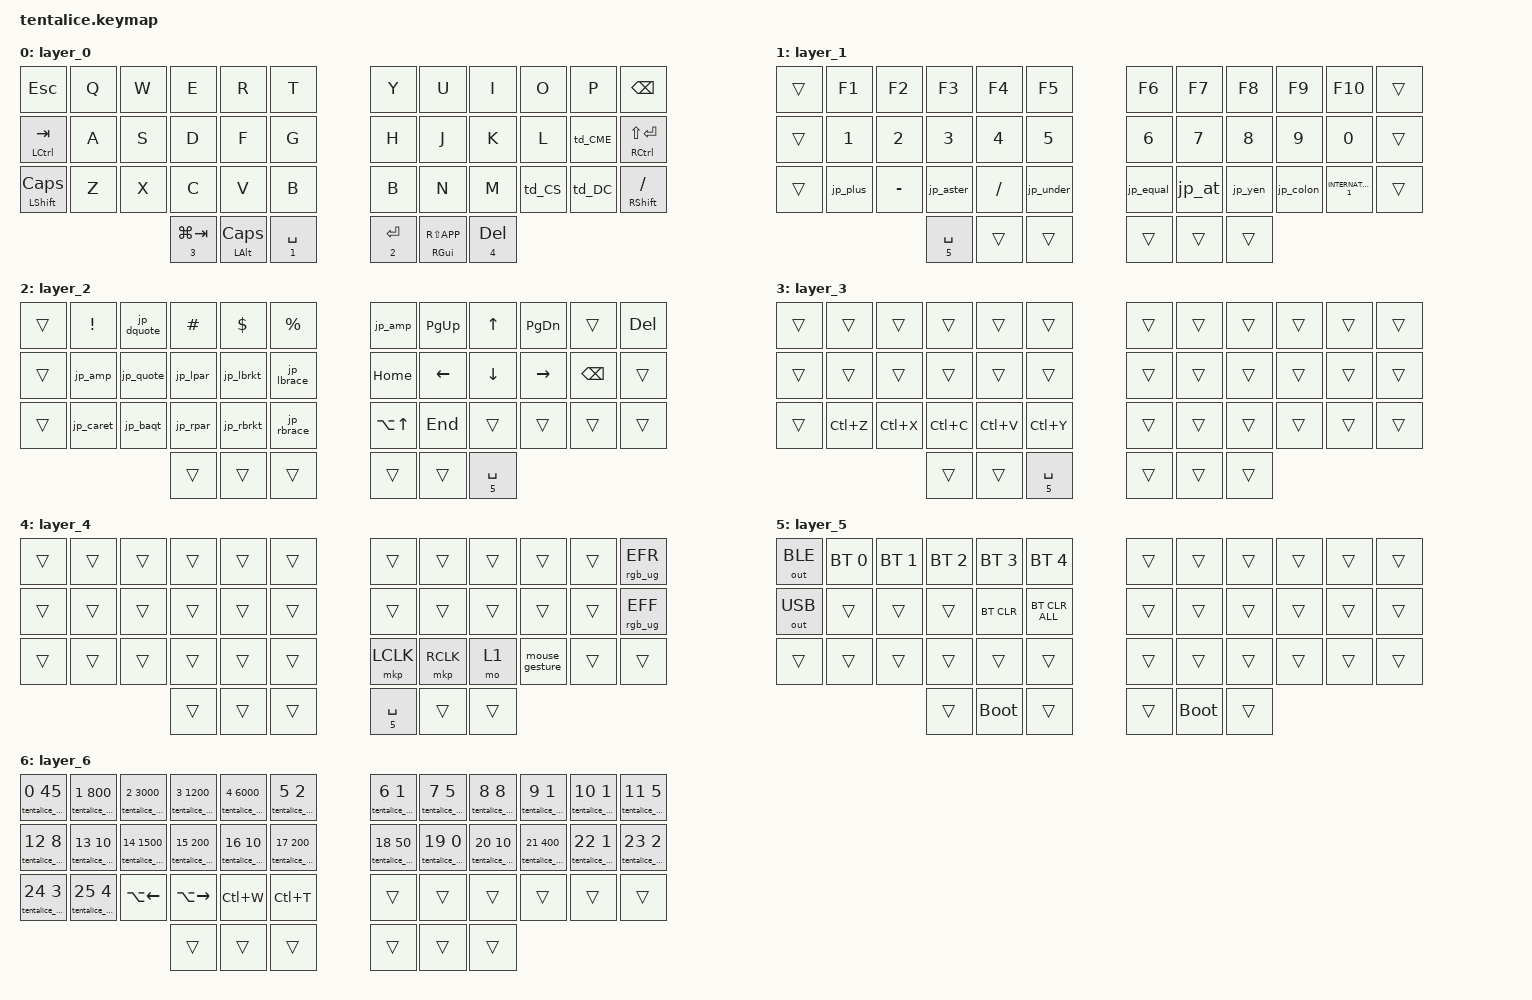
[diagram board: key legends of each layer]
#include <dt-bindings/zmk/behaviors.h>
#include <input/processors.dtsi>
#include <dt-bindings/zmk/input_transform.h>
#include "tentalice-input.dtsi"
#include <behaviors.dtsi>
#include <dt-bindings/zmk/bt.h>
#include <dt-bindings/zmk/keys.h>
#include <dt-bindings/zmk/outputs.h>
#include <dt-bindings/zmk/pointing.h>
#include <dt-bindings/zmk/rgb.h>

/* レイヤー・モディファイアカスタマイズ */

&lt {
    quick-tap-ms = <180>;
    flavor = "hold-preferred";
};

&mt {
    quick-tap-ms = <180>;
    flavor = "hold-preferred";
};

/* トラックボール関連 */

&zip_temp_layer {
    require-prior-idle-ms = <200>; // キー入力から一定時間はAMLを発動しない
};

&mkp_input_listener {
    input-processors = <&zip_temp_layer 4 100000>; // マウスキーで時間延長
};

/ {
    trackball_listener: trackball_listener {
        compatible = "zmk,input-listener";
        device = <&trackball>;

        /* トラックボール操作でマウスレイヤー起動 */

        input-processors = <
            &tentalice_rotation
            &zip_xy_transform (INPUT_TRANSFORM_XY_SWAP | INPUT_TRANSFORM_Y_INVERT)
            &zip_temp_layer 4 100000
            &tentalice_acceleration
            &tentalice_mouse_gesture
        >;

        /* 特定のレイヤーでスクロールモード */

        scroll_mode {
            layers = <1 2>;
            input-processors = <
                &tentalice_rotation
                &zip_xy_transform (INPUT_TRANSFORM_XY_SWAP | INPUT_TRANSFORM_Y_INVERT)
                &zip_xy_to_scroll_mapper
                &zip_scroll_scaler 1 10
                &tentalice_acceleration
                &tentalice_scroll_snap
                &tentalice_mouse_gesture
            >;
        };
    };
} ;

/* ビヘイビア・キーマップ関連 */

/ {
    behaviors {
        mouse_gesture: mouse_gesture {
            compatible = "zmk,behavior-tentalice-mouse-gesture";
            #binding-cells = <0>;
            display-name = "Mouse Gesture";
        };

        tentalice_setting: tentalice_setting {
            compatible = "zmk,behavior-tentalice-setting";
            #binding-cells = <2>;
            display-name = "Tentalice Setting";
        };

        /* タップダンス */

        td_CS: tap_dance_1 {
            compatible = "zmk,behavior-tap-dance";
            #binding-cells = <0>;
            tapping-term-ms = <170>;
            bindings = <&kp COMMA>, <&kp SEMI>;

            label = ",";
        };

        td_DC: tap_dance_2 {
            compatible = "zmk,behavior-tap-dance";
            #binding-cells = <0>;
            tapping-term-ms = <170>;
            bindings = <&kp DOT>, <&jp_colon>;

            label = ".";
        };

        td_CME: tap_dance_3 {
            compatible = "zmk,behavior-tap-dance";
            #binding-cells = <0>;
            tapping-term-ms = <170>;
            bindings = <&mt RCTRL MINUS>, <&jp_equal>;

            label = "/";
        };

        /* レイヤーインジケータ */

        rlt_red: rgb_layer_tap_red {
            compatible = "zmk,behavior-hold-tap";
            #binding-cells = <2>;
            flavor = "tap-preferred";
            tapping-term-ms = <180>;
            bindings = <&rmo_red>, <&kp>;

            quick-tap-ms = <160>;
        };

        rmo_red: rgb_mo_red {
            compatible = "zmk,behavior-macro-one-param";
            wait-ms = <0>;
            tap-ms = <0>;
            #binding-cells = <1>;
            bindings =
                <&macro_param_1to1>,
                <&macro_press>,
                <&mo MACRO_PLACEHOLDER>,
                <&macro_tap>,
                <&rgb_ug RGB_ON>,
                <&macro_tap>,
                <&rgb_ug RGB_COLOR_HSB(0,100,50)>,
                <&macro_pause_for_release>,
                <&macro_param_1to1>,
                <&macro_release>,
                <&mo MACRO_PLACEHOLDER>,
                <&macro_tap>,
                <&rgb_ug RGB_OFF>;
        };

        rlt_blue: rgb_layer_tap_blue {
            compatible = "zmk,behavior-hold-tap";
            #binding-cells = <2>;
            flavor = "hold-preferred";
            tapping-term-ms = <180>;
            bindings = <&rmo_blue>, <&kp>;

            quick-tap-ms = <160>;
        };

        rmo_blue: rgb_mo_blue {
            compatible = "zmk,behavior-macro-one-param";
            wait-ms = <0>;
            tap-ms = <0>;
            #binding-cells = <1>;
            bindings =
                <&macro_param_1to1>,
                <&macro_press>,
                <&mo MACRO_PLACEHOLDER>,
                <&macro_tap>,
                <&rgb_ug RGB_ON>,
                <&macro_tap>,
                <&rgb_ug RGB_COLOR_HSB(240,100,50)>,
                <&macro_pause_for_release>,
                <&macro_param_1to1>,
                <&macro_release>,
                <&mo MACRO_PLACEHOLDER>,
                <&macro_tap>,
                <&rgb_ug RGB_OFF>;
        };

        rlt_green: rgb_layer_tap_green {
            compatible = "zmk,behavior-hold-tap";
            #binding-cells = <2>;
            flavor = "hold-preferred";
            tapping-term-ms = <180>;
            bindings = <&rmo_green>, <&kp>;

            quick-tap-ms = <160>;
        };

        rmo_green: rgb_mo_green {
            compatible = "zmk,behavior-macro-one-param";
            wait-ms = <0>;
            tap-ms = <0>;
            #binding-cells = <1>;
            bindings =
                <&macro_param_1to1>,
                <&macro_press>,
                <&mo MACRO_PLACEHOLDER>,
                <&macro_tap>,
                <&rgb_ug RGB_ON>,
                <&macro_tap>,
                <&rgb_ug RGB_COLOR_HSB(120,100,50)>,
                <&macro_pause_for_release>,
                <&macro_param_1to1>,
                <&macro_release>,
                <&mo MACRO_PLACEHOLDER>,
                <&macro_tap>,
                <&rgb_ug RGB_OFF>;
        };

        rlt_yellow: rgb_layer_tap_yellow {
            compatible = "zmk,behavior-hold-tap";
            #binding-cells = <2>;
            flavor = "hold-preferred";
            tapping-term-ms = <180>;
            bindings = <&rmo_yellow>, <&kp>;

            quick-tap-ms = <160>;
        };

        rmo_yellow: rgb_mo_yellow {
            compatible = "zmk,behavior-macro-one-param";
            wait-ms = <0>;
            tap-ms = <0>;
            #binding-cells = <1>;
            bindings =
                <&macro_param_1to1>,
                <&macro_press>,
                <&mo MACRO_PLACEHOLDER>,
                <&macro_tap>,
                <&rgb_ug RGB_ON>,
                <&macro_tap>,
                <&rgb_ug RGB_COLOR_HSB(60,100,50)>,
                <&macro_pause_for_release>,
                <&macro_param_1to1>,
                <&macro_release>,
                <&mo MACRO_PLACEHOLDER>,
                <&macro_tap>,
                <&rgb_ug RGB_OFF>;
        };

        rlt_violet: rgb_layer_tap_violet {
            compatible = "zmk,behavior-hold-tap";
            #binding-cells = <2>;
            flavor = "hold-preferred";
            tapping-term-ms = <180>;
            bindings = <&rmo_violet>, <&kp>;

            quick-tap-ms = <160>;
        };

        rmo_violet: rgb_mo_violet {
            compatible = "zmk,behavior-macro-one-param";
            wait-ms = <0>;
            tap-ms = <0>;
            #binding-cells = <1>;
            bindings =
                <&macro_param_1to1>,
                <&macro_press>,
                <&mo MACRO_PLACEHOLDER>,
                <&macro_tap>,
                <&rgb_ug RGB_ON>,
                <&macro_tap>,
                <&rgb_ug RGB_COLOR_HSB(270,100,50)>,
                <&macro_pause_for_release>,
                <&macro_param_1to1>,
                <&macro_release>,
                <&mo MACRO_PLACEHOLDER>,
                <&macro_tap>,
                <&rgb_ug RGB_OFF>;
        };

        /* モディファイアインジケータ */

        rmt_orange: rgb_mod_tap_orange {
            compatible = "zmk,behavior-hold-tap";
            #binding-cells = <2>;
            flavor = "hold-preferred";
            tapping-term-ms = <180>;
            bindings = <&rkp_orange>, <&kp>;

            quick-tap-ms = <160>;
        };

        rkp_orange: rgb_kp_orange {
            compatible = "zmk,behavior-macro-one-param";
            wait-ms = <0>;
            tap-ms = <0>;
            #binding-cells = <1>;
            bindings =
                <&macro_param_1to1>,
                <&macro_press>,
                <&kp MACRO_PLACEHOLDER>,
                <&macro_tap>,
                <&rgb_ug RGB_ON>,
                <&macro_tap>,
                <&rgb_ug RGB_COLOR_HSB(15,100,50)>,
                <&macro_pause_for_release>,
                <&macro_param_1to1>,
                <&macro_release>,
                <&kp MACRO_PLACEHOLDER>,
                <&macro_tap>,
                <&rgb_ug RGB_OFF>;
        };

        rmt_cyan: rgb_mod_tap_cyan {
            compatible = "zmk,behavior-hold-tap";
            #binding-cells = <2>;
            flavor = "hold-preferred";
            tapping-term-ms = <180>;
            bindings = <&rkp_cyan>, <&kp>;

            quick-tap-ms = <160>;
        };

        rkp_cyan: rgb_kp_cyan {
            compatible = "zmk,behavior-macro-one-param";
            wait-ms = <0>;
            tap-ms = <0>;
            #binding-cells = <1>;
            bindings =
                <&macro_param_1to1>,
                <&macro_press>,
                <&kp MACRO_PLACEHOLDER>,
                <&macro_tap>,
                <&rgb_ug RGB_ON>,
                <&macro_tap>,
                <&rgb_ug RGB_COLOR_HSB(180,100,50)>,
                <&macro_pause_for_release>,
                <&macro_param_1to1>,
                <&macro_release>,
                <&kp MACRO_PLACEHOLDER>,
                <&macro_tap>,
                <&rgb_ug RGB_OFF>;
        };

        rmt_magenta: rgb_mod_tap_magenta {
            compatible = "zmk,behavior-hold-tap";
            #binding-cells = <2>;
            flavor = "hold-preferred";
            tapping-term-ms = <180>;
            bindings = <&rkp_magenta>, <&kp>;

            quick-tap-ms = <160>;
        };

        rkp_magenta: rgb_kp_magenta {
            compatible = "zmk,behavior-macro-one-param";
            wait-ms = <0>;
            tap-ms = <0>;
            #binding-cells = <1>;
            bindings =
                <&macro_param_1to1>,
                <&macro_press>,
                <&kp MACRO_PLACEHOLDER>,
                <&macro_tap>,
                <&rgb_ug RGB_ON>,
                <&macro_tap>,
                <&rgb_ug RGB_COLOR_HSB(300,100,50)>,
                <&macro_pause_for_release>,
                <&macro_param_1to1>,
                <&macro_release>,
                <&kp MACRO_PLACEHOLDER>,
                <&macro_tap>,
                <&rgb_ug RGB_OFF>;
        };

        rmt_lime: rgb_mod_tap_lime {
            compatible = "zmk,behavior-hold-tap";
            #binding-cells = <2>;
            flavor = "hold-preferred";
            tapping-term-ms = <180>;
            bindings = <&rkp_lime>, <&kp>;

            quick-tap-ms = <160>;
        };

        rkp_lime: rgb_kp_lime {
            compatible = "zmk,behavior-macro-one-param";
            wait-ms = <0>;
            tap-ms = <0>;
            #binding-cells = <1>;
            bindings =
                <&macro_param_1to1>,
                <&macro_press>,
                <&kp MACRO_PLACEHOLDER>,
                <&macro_tap>,
                <&rgb_ug RGB_ON>,
                <&macro_tap>,
                <&rgb_ug RGB_COLOR_HSB(90,100,50)>,
                <&macro_pause_for_release>,
                <&macro_param_1to1>,
                <&macro_release>,
                <&kp MACRO_PLACEHOLDER>,
                <&macro_tap>,
                <&rgb_ug RGB_OFF>;
        };

        /* 日本語キーボード用マクロ定義 */

        jp_dquote: jp_dquote {
            compatible = "zmk,behavior-macro";
            #binding-cells = <0>;
            label = "JP_DQUOTE";
            bindings = <&kp AT>;
        };

        jp_amp: jp_amp {
            compatible = "zmk,behavior-macro";
            #binding-cells = <0>;
            label = "JP_AMP";
            bindings = <&kp CARET>;
        };

        jp_quote: jp_quote {
            compatible = "zmk,behavior-macro";
            #binding-cells = <0>;
            label = "JP_QUOTE";
            bindings = <&kp AMPERSAND>;
        };

        jp_equal: jp_equal {
            compatible = "zmk,behavior-macro";
            #binding-cells = <0>;
            label = "JP_EQUAL";
            bindings = <&kp UNDER>;
        };

        jp_caret: jp_caret {
            compatible = "zmk,behavior-macro";
            #binding-cells = <0>;
            label = "JP_CARET";
            bindings = <&kp EQUAL>;
        };

        jp_yen: jp_yen {
            compatible = "zmk,behavior-macro";
            #binding-cells = <0>;
            label = "JP_YEN";
            bindings = <&kp 0x89>;
        };

        jp_plus: jp_plus {
            compatible = "zmk,behavior-macro";
            #binding-cells = <0>;
            label = "JP_PLUS";
            bindings = <&kp COLON>;
        };

        jp_tilde: jp_tilde {
            compatible = "zmk,behavior-macro";
            #binding-cells = <0>;
            label = "JP_TILDE";
            bindings = <&kp PLUS>;
        };

        jp_pipe: jp_pipe {
            compatible = "zmk,behavior-macro";
            #binding-cells = <0>;
            label = "JP_PIPE";
            bindings = <&kp LS(0x89)>;
        };

        jp_at: jp_at {
            compatible = "zmk,behavior-macro";
            #binding-cells = <0>;
            label = "JP_AT";
            bindings = <&kp LEFT_BRACKET>;
        };

        jp_colon: jp_colon {
            compatible = "zmk,behavior-macro";
            #binding-cells = <0>;
            label = "JP_COLON";
            bindings = <&kp SINGLE_QUOTE>;
        };

        jp_aster: jp_aster {
            compatible = "zmk,behavior-macro";
            #binding-cells = <0>;
            label = "JP_ASTER";
            bindings = <&kp DOUBLE_QUOTES>;
        };

        jp_baqt: jp_baqt {
            compatible = "zmk,behavior-macro";
            #binding-cells = <0>;
            label = "JP_BAQT";
            bindings = <&kp LEFT_BRACE>;
        };

        jp_under: jp_under {
            compatible = "zmk,behavior-macro";
            #binding-cells = <0>;
            label = "JP_UNDER";
            bindings = <&kp LS(0x87)>;
        };

        jp_lbrkt: jp_lbrkt {
            compatible = "zmk,behavior-macro";
            #binding-cells = <0>;
            label = "JP_LBRACKET";
            bindings = <&kp RIGHT_BRACKET>;
        };

        jp_rbrkt: jp_rbrkt {
            compatible = "zmk,behavior-macro";
            #binding-cells = <0>;
            label = "JP_RBRACKET";
            bindings = <&kp BACKSLASH>;
        };

        jp_lpar: jp_lpar {
            compatible = "zmk,behavior-macro";
            #binding-cells = <0>;
            label = "JP_LPAREN";
            bindings = <&kp ASTERISK>;
        };

        jp_rpar: jp_rpar {
            compatible = "zmk,behavior-macro";
            #binding-cells = <0>;
            label = "JP_RPAREN";
            bindings = <&kp LEFT_PARENTHESIS>;
        };

        jp_lbrace: jp_lbrace {
            compatible = "zmk,behavior-macro";
            #binding-cells = <0>;
            label = "JP_LBRACE";
            bindings = <&kp RIGHT_BRACE>;
        };

        jp_rbrace: jp_rbrace {
            compatible = "zmk,behavior-macro";
            #binding-cells = <0>;
            label = "JP_RBRACE";
            bindings = <&kp PIPE>;
        };

        jp_kana: jp_kana {
            compatible = "zmk,behavior-macro";
            #binding-cells = <0>;
            label = "JP_KANA";
            bindings = <&kp LANGUAGE_1>;
        };

        jp_eisu: jp_eisu {
            compatible = "zmk,behavior-macro";
            #binding-cells = <0>;
            label = "JP_EISU";
            bindings = <&kp LANGUAGE_2>;
        };

        jp_hanzen: jp_hanzen {
            compatible = "zmk,behavior-macro";
            #binding-cells = <0>;
            label = "JP_HANZEN";
            bindings = <&kp GRAVE>;
        };
    };

    macros {
    };

    /* キーマップ */

    keymap {
        compatible = "zmk,keymap";

        layer_0 {
            bindings = <
  &kp ESC                     &kp Q                       &kp W             &kp E             &kp R                     &kp T            &kp Y  &kp U  &kp I  &kp O   &kp P    &kp BSPC
  &rmt_cyan LCTRL TAB         &kp A                       &kp S             &kp D             &kp F                     &kp G            &kp H  &kp J  &kp K  &kp L   &td_CME  &rmt_cyan RCTRL LS(RET)
  &rmt_orange LSHFT CAPSLOCK  &kp Z                       &kp X             &kp C             &kp V                     &kp B            &kp B  &kp N  &kp M  &td_CS  &td_DC   &rmt_orange RSHFT SLASH
  &rlt_yellow 3 LG(TAB)       &rmt_magenta LALT CAPSLOCK  &rlt_red 1 SPACE  &rlt_green 2 RET  &rmt_lime RGUI RS(K_APP)  &rlt_blue 4 DEL
            >;
        };

        layer_1 {
            bindings = <
  &trans               &kp F1    &kp F2     &kp F3     &kp F4     &kp F5     &kp F6     &kp F7  &kp F8   &kp F9     &kp F10              &trans
  &trans               &kp N1    &kp N2     &kp N3     &kp N4     &kp N5     &kp N6     &kp N7  &kp N8   &kp N9     &kp N0               &trans
  &trans               &jp_plus  &kp MINUS  &jp_aster  &kp SLASH  &jp_under  &jp_equal  &jp_at  &jp_yen  &jp_colon  &kp INTERNATIONAL_1  &trans
  &rlt_violet 5 SPACE  &trans    &trans     &trans     &trans     &trans
            >;
        };

        layer_2 {
            bindings = <
  &trans  &kp EXCL   &jp_dquote  &kp HASH  &kp DLLR   &kp PRCNT            &jp_amp     &kp PG_UP  &kp UP    &kp PG_DN  &trans    &kp DEL
  &trans  &jp_amp    &jp_quote   &jp_lpar  &jp_lbrkt  &jp_lbrace           &kp HOME    &kp LEFT   &kp DOWN  &kp RIGHT  &kp BSPC  &trans
  &trans  &jp_caret  &jp_baqt    &jp_rpar  &jp_rbrkt  &jp_rbrace           &kp LA(UP)  &kp END    &trans    &trans     &trans    &trans
  &trans  &trans     &trans      &trans    &trans     &rlt_violet 5 SPACE
            >;
        };

        layer_3 {
            bindings = <
  &trans  &trans     &trans               &trans     &trans     &trans     &trans  &trans  &trans  &trans  &trans  &trans
  &trans  &trans     &trans               &trans     &trans     &trans     &trans  &trans  &trans  &trans  &trans  &trans
  &trans  &kp LC(Z)  &kp LC(X)            &kp LC(C)  &kp LC(V)  &kp LC(Y)  &trans  &trans  &trans  &trans  &trans  &trans
  &trans  &trans     &rlt_violet 5 SPACE  &trans     &trans     &trans
            >;
        };

        layer_4 {
            bindings = <
  &trans  &trans  &trans  &trans               &trans  &trans  &trans     &trans     &trans  &trans          &trans  &rgb_ug RGB_EFR
  &trans  &trans  &trans  &trans               &trans  &trans  &trans     &trans     &trans  &trans          &trans  &rgb_ug RGB_EFF
  &trans  &trans  &trans  &trans               &trans  &trans  &mkp LCLK  &mkp RCLK  &mo 1   &mouse_gesture  &trans  &trans
  &trans  &trans  &trans  &rlt_violet 5 SPACE  &trans  &trans
            >;
        };

        layer_5 {
            bindings = <
  &out OUT_BLE  &bt BT_SEL 0  &bt BT_SEL 1  &bt BT_SEL 2  &bt BT_SEL 3  &bt BT_SEL 4    &trans  &trans  &trans  &trans  &trans  &trans
  &out OUT_USB  &trans        &trans        &trans        &bt BT_CLR    &bt BT_CLR_ALL  &trans  &trans  &trans  &trans  &trans  &trans
  &trans        &trans        &trans        &trans        &trans        &trans          &trans  &trans  &trans  &trans  &trans  &trans
  &trans        &bootloader   &trans        &trans        &bootloader   &trans
            >;
        };

        /* Studio settings storage; the editor intentionally hides this layer. */
        layer_6 {
            bindings = <
  &tentalice_setting 0 45    &tentalice_setting 1 800   &tentalice_setting 2 3000  &tentalice_setting 3 1200  &tentalice_setting 4 6000  &tentalice_setting 5 2   &tentalice_setting 6 1   &tentalice_setting 7 5   &tentalice_setting 8 8   &tentalice_setting 9 1   &tentalice_setting 10 1  &tentalice_setting 11 5
  &tentalice_setting 12 8   &tentalice_setting 13 10  &tentalice_setting 14 1500 &tentalice_setting 15 200 &tentalice_setting 16 10  &tentalice_setting 17 200 &tentalice_setting 18 50  &tentalice_setting 19 0  &tentalice_setting 20 10  &tentalice_setting 21 400 &tentalice_setting 22 1  &tentalice_setting 23 2
  &tentalice_setting 24 3   &tentalice_setting 25 4   &kp LA(LEFT)              &kp LA(RIGHT)             &kp LC(W)                &kp LC(T)                  &trans                    &trans        &trans     &trans     &trans &trans
  &trans &trans &trans &trans &trans &trans
            >;
        };
    };
};
